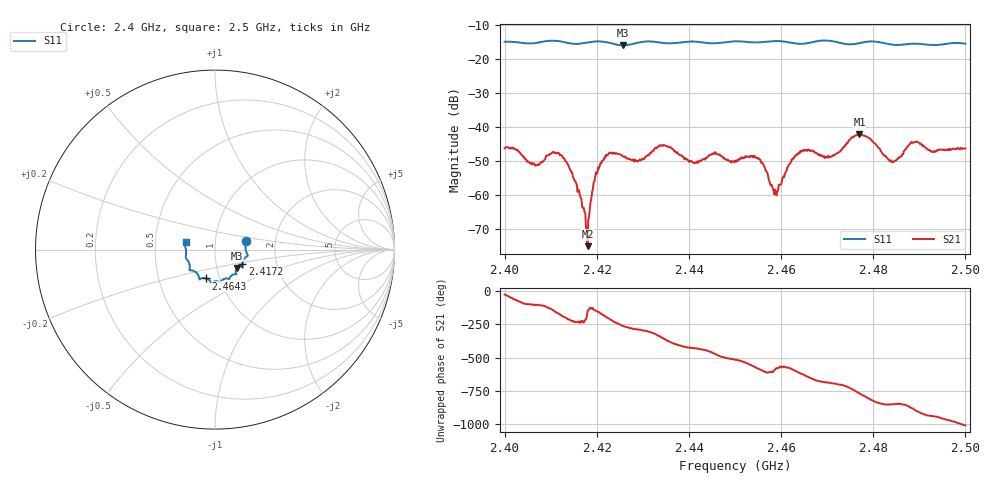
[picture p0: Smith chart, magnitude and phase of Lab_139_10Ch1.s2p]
# Hz S RI R 50
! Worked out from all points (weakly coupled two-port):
!   601 points, 2.4 GHz to 2.5 GHz, reference 50 ohm
!   highest |S21| = -42.17 dB at 2.477 GHz (marker M1); lowest = -75.1 dB at 2.418 GHz (marker M2)
!   lowest |S11| = -15.9 dB at 2.4257 GHz (marker M3), VSWR 1.38, Z = 62.4 - j13.1 ohm
!   |S11| at or under -10 dB: start of sweep to end of sweep
!   S12 and S22 are empty: the file has one direction only
!   S11 on the Smith chart (normalised r, x): 2.4 GHz: 1.41, +0.14; 2.4172 GHz: 1.34, -0.22; 2.4643 GHz: 0.86, -0.28; 2.5 GHz: 0.72, +0.06
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2.4e9  0.1731 0.0496  0.00443 -0.00199  0 0  0 0
2.407e9  0.1738 -0.0106  -0.00062 -0.0027  0 0  0 0
2.412e9  0.1798 -0.0366  -0.00381 -0.000415  0 0  0 0
2.416667e9  0.1528 -0.0745  -0.000647 0.000596  0 0  0 0
2.417167e9  0.1522 -0.0802  -0.000363 0.000536  0 0  0 0
2.418e9  0.1524 -0.0884  -0.000153 -8.57e-05  0 0  0 0
2.419333e9  0.1539 -0.0956  -0.00116 -0.00101  0 0  0 0
2.420833e9  0.1545 -0.0964  -0.0029 -0.000597  0 0  0 0
2.425667e9  0.1225 -0.1024  -0.000587 0.00363  0 0  0 0
2.429167e9  0.1164 -0.1322  0.00102 0.00304  0 0  0 0
2.433333e9  0.1127 -0.1368  0.0047 0.00212  0 0  0 0
2.441167e9  0.0776 -0.1642  0.00106 -0.00272  0 0  0 0
2.45e9  0.0296 -0.1809  -0.00297 -0.00121  0 0  0 0
2.455e9  0.00158 -0.1767  -0.00248 0.00234  0 0  0 0
2.458833e9  -0.021 -0.1838  -0.000786 0.000731  0 0  0 0
2.464333e9  -0.0501 -0.1606  -0.000618 0.00427  0 0  0 0
2.466667e9  -0.0762 -0.16  0.00224 0.0039  0 0  0 0
2.471e9  -0.0868 -0.1629  0.00337 0.00155  0 0  0 0
2.477e9  -0.1267 -0.1164  0.00493 -0.00603  0 0  0 0
2.483333e9  -0.1408 -0.0896  -0.00232 -0.00242  0 0  0 0
2.488833e9  -0.1625 -0.0471  -0.00588 -0.00092  0 0  0 0
2.5e9  -0.1636 0.0421  0.00191 0.00446  0 0  0 0
